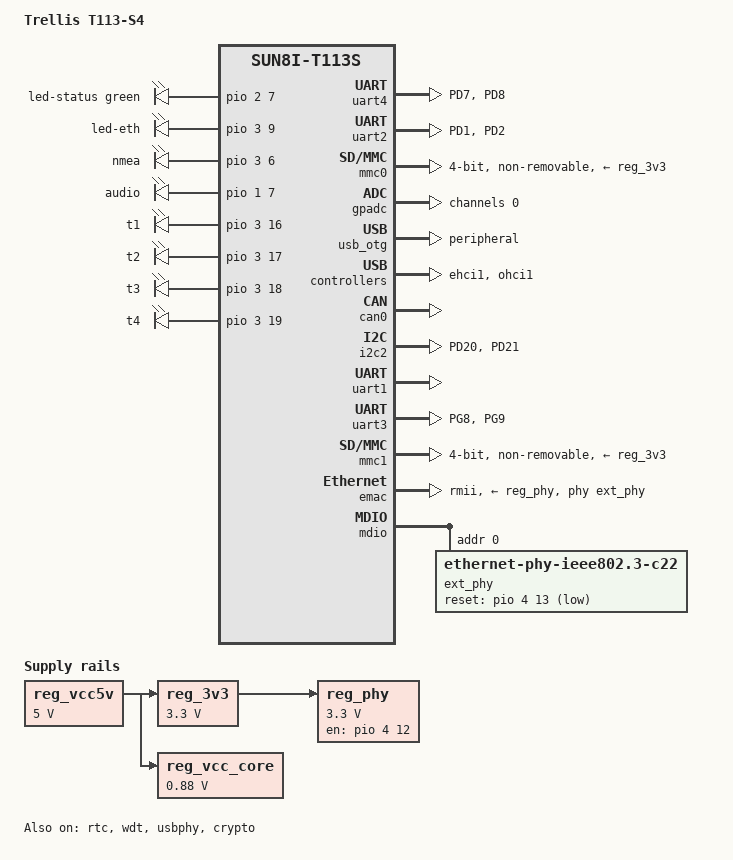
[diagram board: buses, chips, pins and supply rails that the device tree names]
// SPDX-License-Identifier: (GPL-2.0+ OR MIT)
// Copyright (C) 2022 Arm Ltd.
// Copyright (C) 2024 Connor Rigby <connorr@hey.com>

#include <dt-bindings/interrupt-controller/irq.h>

/dts-v1/;

#include <arm/allwinner/sun8i-t113s.dtsi>

#include <dt-bindings/gpio/gpio.h>
#include <dt-bindings/input/input.h>
#include <dt-bindings/leds/common.h>
#include <dt-bindings/pwm/pwm.h>

/ {
	model = "Trellis T113-S4";
	compatible = "protolux,trellis-t113", "allwinner,sun8i-t113s", "allwinner,sun8i";

	aliases {
		serial1 = &uart1;
		serial2 = &uart2;
		serial3 = &uart3;
		serial4 = &uart4;
	};

	chosen {
		stdout-path = "serial4:115200n8";
	};

	leds {
		compatible = "gpio-leds";

		led-status {
			color = <LED_COLOR_ID_GREEN>;
			function = LED_FUNCTION_STATUS;
			gpios = <&pio 2 7 GPIO_ACTIVE_HIGH>; /* PC7 */
			linux,default-trigger = "heartbeat";
		};

		led-eth {
			function = LED_FUNCTION_LAN;
			gpios = <&pio 3 9 GPIO_ACTIVE_HIGH>; /* PD9 */
			linux,default-trigger = "netdev";
		};

		led-nmea {
			label = "nmea";
			gpios = <&pio 3 6 GPIO_ACTIVE_HIGH>; /* PD6 */
		};

		led-audio {
			label = "audio";
			gpios = <&pio 1 7 GPIO_ACTIVE_HIGH>; /* PB7 */
		};

		led-t1 {
			label = "t1";
			gpios = <&pio 3 16 GPIO_ACTIVE_HIGH>; /* PD16 */
		};

		led-t2 {
			label = "t2";
			gpios = <&pio 3 17 GPIO_ACTIVE_HIGH>; /* PD17 */
		};

		led-t3 {
			label = "t3";
			gpios = <&pio 3 18 GPIO_ACTIVE_HIGH>; /* PD18 */
		};

		led-t4 {
			label = "t4";
			gpios = <&pio 3 19 GPIO_ACTIVE_HIGH>; /* PD19 */
		};
	};

	reg_vcc5v: regulator-5v {
		compatible = "regulator-fixed";
		regulator-name = "vcc-5v";
		regulator-min-microvolt = <5000000>;
		regulator-max-microvolt = <5000000>;
		regulator-always-on;
	};

	reg_3v3: regulator-3v3 {
		compatible = "regulator-fixed";
		regulator-name = "vcc-3v3";
		regulator-min-microvolt = <3300000>;
		regulator-max-microvolt = <3300000>;
		vin-supply = <&reg_vcc5v>;
		regulator-always-on;
	};

	reg_vcc_core: regulator-core {
		compatible = "regulator-fixed";
		regulator-name = "vcc-core";
		regulator-min-microvolt = <880000>;
		regulator-max-microvolt = <880000>;
		vin-supply = <&reg_vcc5v>;
		regulator-always-on;
	};

	/* PE12 -> DP83825I pin 3 (INT/PWRDN_N): HIGH = normal, LOW = power-down. */
	reg_phy: regulator-phy {
		compatible = "regulator-fixed";
		regulator-name = "vcc-phy";
		regulator-min-microvolt = <3300000>;
		regulator-max-microvolt = <3300000>;
		vin-supply = <&reg_3v3>;
		gpio = <&pio 4 12 GPIO_ACTIVE_HIGH>;
		enable-active-high;
		startup-delay-us = <1000>;
		regulator-boot-on;
	};
};

&cpu0 {
	cpu-supply = <&reg_vcc_core>;
};

&cpu1 {
	cpu-supply = <&reg_vcc_core>;
};

&rtc {
	status = "okay";
};

&dcxo {
	clock-frequency = <24000000>;
};

&wdt {
	status = "okay";
};

&pio {
	vcc-pb-supply = <&reg_3v3>;
	vcc-pc-supply = <&reg_3v3>;
	vcc-pd-supply = <&reg_3v3>;
	vcc-pe-supply = <&reg_3v3>;
	vcc-pf-supply = <&reg_3v3>;
	vcc-pg-supply = <&reg_3v3>;

	gpio-line-names =
		/* PA */
		"","","","","","","","",
		"","","","","","","","",
		"","","","","","","","",
		"","","","","","","","",
		/* PB */
		"","","CAN0_TX","CAN0_RX","","","","AUDIO_LED",
		"","","","","","","","",
		"","","","","","","","",
		"","","","","","","","",
		/* PC */
		"","","","","BOOT_SEL0","BOOT_SEL1","","STATUS_LED",
		"","","","","","","","",
		"","","","","","","","",
		"","","","","","","","",
		/* PD */
		"","UART2_TX","UART2_RX","STM_BOOT","STM_RESET","","NMEA_LED","UART4_TX",
		"UART4_RX","ETH_LED","","TRIG_4","TRIG_3","SOFT_RESET","TRIG_2","TRIG_1",
		"T1_LED","T2_LED","T3_LED","T4_LED","I2C2_SCL","I2C2_SDA","","",
		"","","","","","","","",
		/* PE */
		"RMII_CRS_DV","RMII_RXD0","RMII_RXD1","RMII_TXCK","RMII_TXD0","RMII_TXD1","RMII_TXEN","RMII_RXER",
		"MDC","MDIO","","","ETH_PWRDN","ETH_RESET","","",
		"","","","","","","","",
		"","","","","","","","",
		/* PF */
		"","","","","","","","",
		"","","","","","","","",
		"","","","","","","","",
		"","","","","","","","",
		/* PG */
		"MMC1_CLK","MMC1_CMD","MMC1_D0","MMC1_D1","MMC1_D2","MMC1_D3","UART1_TX","UART1_RX",
		"UART3_TX","UART3_RX","ESP_BOOT","ESP_RESET","","","","",
		"","","","","","","","",
		"","","","","","","","";

	uart4_pd_pins: uart4-pd-pins {
		pins = "PD7", "PD8";
		function = "uart4";
	};

	/omit-if-no-ref/
	uart2_pd_pins: uart2-pd-pins {
		pins = "PD1", "PD2";
		function = "uart2";
	};

	/omit-if-no-ref/
	uart3_pg_pins: uart3-pg-pins {
		pins = "PG8", "PG9";
		function = "uart3";
	};

	/omit-if-no-ref/
	i2c2_pd_pins: i2c2-pd-pins {
		pins = "PD20", "PD21";
		function = "i2c2";
	};
};

/* console */
&uart4 {
	pinctrl-names = "default";
	pinctrl-0 = <&uart4_pd_pins>;
	status = "okay";
};

/* STM32 coprocessor link */
&uart2 {
	pinctrl-names = "default";
	pinctrl-0 = <&uart2_pd_pins>;
	status = "okay";
};

&mmc0 {
	pinctrl-names = "default";
	pinctrl-0 = <&mmc0_pins>;
	vmmc-supply = <&reg_3v3>;
	disable-wp;
	bus-width = <4>;
	max-frequency = <50000000>;
	non-removable;
	broken-cd;
	no-1-8-v;
	status = "okay";
};

&gpadc {
	status = "okay";
	channel@0 {
        reg = <0>;
    };

};

&usb_otg {
	dr_mode = "peripheral";
	status = "okay";
};

&usbphy {
	status = "okay";
};

&ehci1 {
	status = "okay";
};

&ohci1 {
	status = "okay";
};

&spi0 {
	status = "disabled";
};

&spi1 {
	status = "disabled";
};

&mixer0 {
	status = "disabled";
};

&tcon_top {
	status = "disabled";
};

&tcon_lcd0 {
	status = "disabled";
};

&can0 {
	pinctrl-names = "default";
	pinctrl-0 = <&can0_pins>;
	status = "okay";
};

&i2c2 {
	pinctrl-names = "default";
	pinctrl-0 = <&i2c2_pd_pins>;
	status = "okay";
};

/* ESP-Hosted control */
&uart1 {
	pinctrl-names = "default";
	pinctrl-0 = <&uart1_pg6_pins>;
	status = "okay";
};

/* Bluetooth (ESP-Hosted) */
&uart3 {
	pinctrl-names = "default";
	pinctrl-0 = <&uart3_pg_pins>;
	status = "okay";
};

&mmc1 {
	vmmc-supply = <&reg_3v3>;
	vqmmc-supply = <&reg_3v3>;
	bus-width = <4>;
	non-removable;
	broken-cd;
	no-1-8-v;
	pinctrl-names = "default";
	pinctrl-0 = <&mmc1_pins>;
	status = "okay";
};

&emac {
	pinctrl-names = "default";
	pinctrl-0 = <&rmii_pe_pins>;
	phy-mode = "rmii";
	phy-handle = <&ext_phy>;
	phy-supply = <&reg_phy>;
	nvmem-cells = <&mac_address>;
	nvmem-cell-names = "mac-address";
	status = "okay";
};

&sid {
	mac_address: mac-address@0 {
		reg = <0x0 6>;
	};
};

&mdio {
	ext_phy: ethernet-phy@0 {
		compatible = "ethernet-phy-ieee802.3-c22";
		reg = <0>;
		reset-gpios = <&pio 4 13 GPIO_ACTIVE_LOW>; /* PE13 ETH_RESET */
		reset-assert-us = <10000>;
		reset-deassert-us = <50000>;
	};
};

&crypto {
	status = "okay";
};
